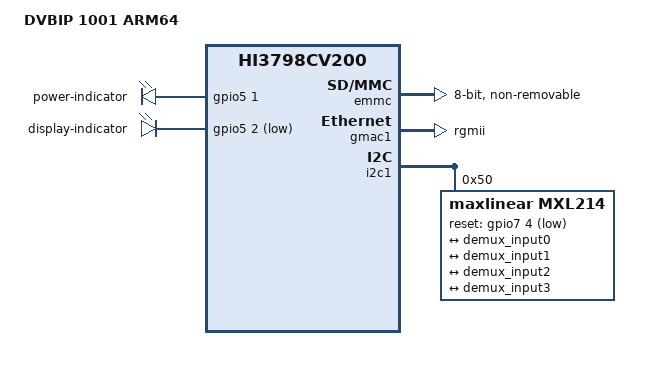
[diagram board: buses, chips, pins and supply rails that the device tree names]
// SPDX-License-Identifier: GPL-2.0-only
/*
 * Device Tree Source for HiSilicon Hi3798CV200 DVBIP-1001 board.
 *
 * Copyright (c) 2026 HiSilicon Technologies Co., Ltd.
 */

/dts-v1/;

#include <dt-bindings/leds/common.h>
#include "hi3798cv200-dvbip.dtsi"

/ {
	model = "DVBIP 1001 ARM64";
	compatible = "dvbip,1001", "hisilicon,hi3798cv200";


	chosen {
		bootargs = "console=tty0 console=ttyAMA0,115200n8 earlycon=pl011,mmio32,0xf8b00000,115200n8 root=/dev/mmcblk0p5 rootfstype=ext4 rootwait rw blkdevparts=mmcblk0:4M(fastboot),4M(bootargs),212M(deviceinfo),10M(trustedcore),-(rootfs) mem=2G loglevel=7 clk_ignore_unused fw_devlink=off dvbip.model=1001";
		stdout-path = "serial0:115200n8";
	};


	ip1001_cpu_opp_table: opp-table-cpu {
		compatible = "operating-points-v2";
		opp-shared;

		opp-400000000 {
			opp-hz = /bits/ 64 <400000000>;
			opp-microvolt = <1000000>;
			clock-latency-ns = <110000000>;
		};

		opp-600000000 {
			opp-hz = /bits/ 64 <600000000>;
			opp-microvolt = <1000000>;
			clock-latency-ns = <110000000>;
		};

		opp-800000000 {
			opp-hz = /bits/ 64 <800000000>;
			opp-microvolt = <1000000>;
			clock-latency-ns = <110000000>;
		};

		opp-1200000000 {
			opp-hz = /bits/ 64 <1200000000>;
			opp-microvolt = <1050000>;
			clock-latency-ns = <110000000>;
		};

		opp-1600000000 {
			opp-hz = /bits/ 64 <1600000000>;
			opp-microvolt = <1150000>;
			clock-latency-ns = <110000000>;
		};
	};

	leds {
		compatible = "gpio-leds";

		power-indicator {
			function = LED_FUNCTION_POWER;
			gpios = <&gpio5 1 GPIO_ACTIVE_HIGH>;
			default-state = "keep";
		};

		display-indicator {
			function = LED_FUNCTION_INDICATOR;
			gpios = <&gpio5 2 GPIO_ACTIVE_LOW>;
			default-state = "keep";
		};
	};
};

&cpu0 {
	#cooling-cells = <2>;
	cpu-supply = <&vdd_cpu>;
	operating-points-v2 = <&ip1001_cpu_opp_table>;
};

&cpu1 {
	cpu-supply = <&vdd_cpu>;
	operating-points-v2 = <&ip1001_cpu_opp_table>;
};

&cpu2 {
	cpu-supply = <&vdd_cpu>;
	operating-points-v2 = <&ip1001_cpu_opp_table>;
};

&cpu3 {
	cpu-supply = <&vdd_cpu>;
	operating-points-v2 = <&ip1001_cpu_opp_table>;
};

&dvbip_cooling_maps {
	map-cpu {
		trip = <&gpu_target>;
		cooling-device = <&cpu0 THERMAL_NO_LIMIT THERMAL_NO_LIMIT>;
	};
};

&dvbip_sound {
	simple-audio-card,name = "DVBIP-1001";
};

&{/thermal-zones/soc-thermal} {
	polling-delay-passive = <1000>;
	/delete-property/ sustainable-power;
};

&{/thermal-zones/soc-thermal/trips} {
	/delete-node/ soc-passive;
};

&emmc {
	pinctrl-names = "default";
	pinctrl-0 = <&ip1001_emmc_ddr52_pins>;
	hisilicon,io-voltage-reg = <&sysctrl 0xf4>;
	fifo-depth = <256>;
	clock-frequency = <100000000>;
	max-frequency = <52000000>;
	cap-mmc-highspeed;
	cap-mmc-hw-reset;
	mmc-ddr-1_8v;
	no-sd;
	no-sdio;
	non-removable;
	bus-width = <8>;
	status = "okay";
};

&pmx0 {
	ip1001_emmc_ddr52_pins: ip1001-emmc-ddr52-pins {
		pinctrl-single,pins = <
			0x000 MUX_M2
			0x004 MUX_M2
			0x008 MUX_M2
			0x00c MUX_M2
			0x010 MUX_M2
			0x014 MUX_M2
			0x018 MUX_M2
			0x01c MUX_M2
			0x024 MUX_M2
			0x028 MUX_M2
		>;
		pinctrl-single,slew-rate = <PINCTRL_SLEW_RATE(1, 1)>;
		pinctrl-single,drive-strength = <PINCTRL_DRV_STRENGTH(0xd, 0xf)>;
	};

	ip1001_i2c1_pins: ip1001-i2c1-pins {
		pinctrl-single,pins = <
			0x0e0 MUX_M2 /* I2C1_SDA, pin 56 */
			0x0e4 MUX_M2 /* I2C1_SCL, pin 57 */
		>;
	};

	ip1001_mxl214_reset_pin: ip1001-mxl214-reset-pin {
		pinctrl-single,pins = <
			0x0c8 MUX_M0 /* GPIO7_4, MxL214 reset, pin 50 */
		>;
	};

	ip1001_tsi_pins: ip1001-tsi-pins {
		pinctrl-single,pins = <
			0x0b4 MUX_M0 /* Unused TSI3-B_VALID, pin 45 */
			0x0b8 MUX_M0 /* Unused TSI3-B_D0, pin 46 */
			0x0bc MUX_M0 /* Unused TSI3-B_CLK, pin 47 */
			0x0cc MUX_M2 /* TSI3_VALID, pin 51 */
			0x0d0 MUX_M2 /* TSI3_D0, pin 52 */
			0x0d4 MUX_M2 /* TSI2_VALID, pin 53 */
			0x0d8 MUX_M2 /* TSI2_D0, pin 54 */
			0x0dc MUX_M2 /* TSI2_CLK, pin 55 */
			0x0e8 MUX_M2 /* TSI1_VALID, pin 58 */
			0x0ec MUX_M2 /* TSI1_CLK, pin 59 */
			0x0f0 MUX_M2 /* TSI1_D0, pin 60 */
			0x0f4 MUX_M2 /* TSI0_VALID, pin 61 */
			0x0f8 MUX_M2 /* TSI0_D0, pin 62 */
			0x0fc MUX_M2 /* TSI0_CLK, pin 63 */
		>;
	};
};

&demux {
	pinctrl-names = "default";
	pinctrl-0 = <&ip1001_tsi_pins>;
};

&dvbip_demux_input0 {
	port {
		demux_input0: endpoint {
			remote-endpoint = <&mxl214_output0>;
		};
	};
};

&dvbip_demux_input1 {
	port {
		demux_input1: endpoint {
			remote-endpoint = <&mxl214_output1>;
		};
	};
};

&dvbip_demux_input2 {
	port {
		demux_input2: endpoint {
			remote-endpoint = <&mxl214_output2>;
		};
	};
};

&dvbip_demux_input3 {
	port {
		demux_input3: endpoint {
			remote-endpoint = <&mxl214_output3>;
		};
	};
};

&gmac1 {
	phy-mode = "rgmii";
	hisilicon,phy-reset-delays-us = <10000 10000 30000>;
};

&i2c1 {
	pinctrl-names = "default";
	pinctrl-0 = <&ip1001_i2c1_pins>;
	status = "okay";

	mxl214: demodulator@50 {
		compatible = "maxlinear,mxl214";
		reg = <0x50>;
		pinctrl-names = "default";
		pinctrl-0 = <&ip1001_mxl214_reset_pin>;
		reset-gpios = <&gpio7 4 GPIO_ACTIVE_LOW>;

		ports {
			#address-cells = <1>;
			#size-cells = <0>;

			port@0 {
				reg = <0>;

				mxl214_output0: endpoint {
					remote-endpoint = <&demux_input0>;
				};
			};

			port@1 {
				reg = <1>;

				mxl214_output1: endpoint {
					remote-endpoint = <&demux_input1>;
				};
			};

			port@2 {
				reg = <2>;

				mxl214_output2: endpoint {
					remote-endpoint = <&demux_input2>;
				};
			};

			port@3 {
				reg = <3>;

				mxl214_output3: endpoint {
					remote-endpoint = <&demux_input3>;
				};
			};
		};
	};
};

&ir {
	status = "disabled";
};
